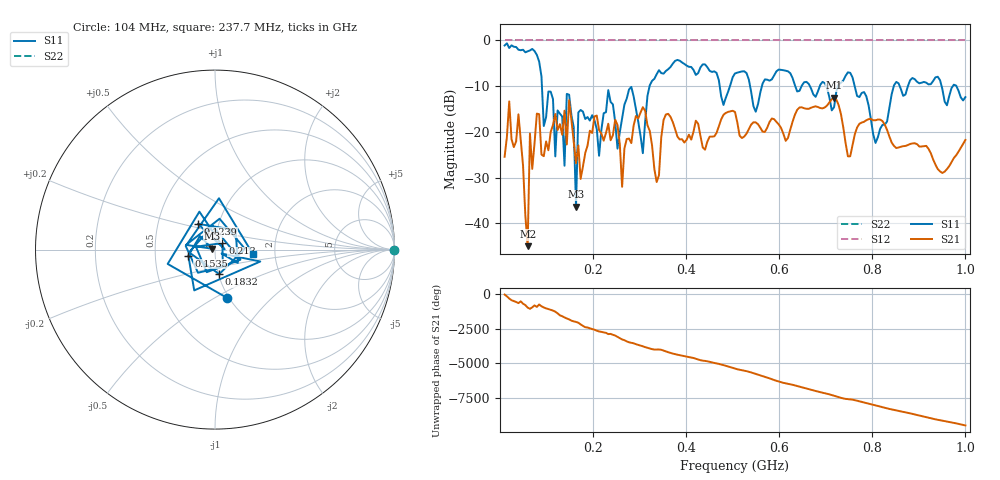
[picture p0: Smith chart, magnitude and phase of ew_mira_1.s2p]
! Anritsu VNA Master:  Model: MS2024B
! SN:  2417009
! /card0/usr/ew_mira_1.s2p
! Existing Calibration Information:
! TYPE:  Current Settings,  Active Cal Settings
! TIME:  10/26/2026 12:23:12 PM,  10/26/2026 11:43:50 AM
! INTERNAL TEMP:  51.3 C,  42.8 C
! # POINTS:  201,  201
! START FREQ:  10.000 MHz,  10.000 MHz
! STOP FREQ:  1.000 GHz,  1.000 GHz
! SOURCE POWER:  Default,  Default
! IFBW:  1 kHz,  1 kHz
! AVG FACTOR:  1 ,  1
! REF PLANE 1:  0 mm,  0 mm
! REF PLANE 2:  0 mm,  0 mm
! CAL TYPE:  1P2P S11,S21,  1P2P S11,S21
! CAL METHOD:  SOLT,  SOLT
! CAL LINE TYPE:  Coax,  Coax
! DUT PORT 1:  N-Conn(M),  N-Conn(M)
! DUT PORT 2:  N-Conn(M),  N-Conn(M)
! CAL STATUS:  ?T: Accuracy moderate (|Temp diff| > 5.0 C),  --
# GHZ S DB R 50.0
! FREQ.GHZ  S11DB  S11A  S21DB  S21A  S12DB  S12A  S22DB  S22A
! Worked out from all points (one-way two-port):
!   201 points, 10 MHz to 1 GHz, reference 50 ohm
!   highest |S21| = -12.54 dB at 717.9 MHz (marker M1); lowest = -45.0 dB at 59.5 MHz (marker M2)
!   lowest |S11| = -36.3 dB at 163.4 MHz (marker M3), VSWR 1.03, Z = 48.6 + j0.431 ohm
!   |S11| at or under -10 dB: 90.18 MHz to 321.4 MHz (231.3 MHz wide, 112 % of centre); 537.4 MHz to 562.8 MHz (25.44 MHz wide, 4.62 % of centre); 762.2 MHz to 846.1 MHz (83.84 MHz wide, 10.4 % of centre) (the widest 3 of 10)
!   |S22| runs from 0.0 to 0.0 dB; largest |S21 - S12| = 1.2
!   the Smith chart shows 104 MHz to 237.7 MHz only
!   S11 on the Smith chart (normalised r, x): 104 MHz: 0.98, -0.57; 123.8 MHz: 0.80, +0.24; 153.6 MHz: 0.74, -0.05; 183.2 MHz: 1.01, -0.28; 212.9 MHz: 1.08, +0.08; 237.7 MHz: 1.53, -0.08
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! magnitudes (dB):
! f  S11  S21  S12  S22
! 10 MHz  -1.1  -25.4  0.0  0.0
! 39.7 MHz  -2.0  -16.2  0.0  0.0
! 59.5 MHz  -2.4  -45.0  0.0  0.0
! 64.45 MHz  -2.2  -20.3  0.0  0.0
! 104 MHz  -11.2  -24.0  0.0  0.0
! 123.8 MHz  -15.3  -19.6  0.0  0.0
! 153.6 MHz  -16.3  -17.4  0.0  0.0
! 163.4 MHz  -36.3  -26.8  0.0  0.0
! 168.4 MHz  -15.7  -22.9  0.0  0.0
! 178.3 MHz  -15.6  -27.6  0.0  0.0
! 183.2 MHz  -17.2  -24.6  0.0  0.0
! 212.9 MHz  -25.2  -19.6  0.0  0.0
! 237.7 MHz  -13.4  -21.8  0.0  0.0
! 262.5 MHz  -17.1  -32.0  0.0  0.0
! 307 MHz  -24.6  -14.6  0.0  0.0
! 341.6 MHz  -6.5  -29.5  0.0  0.0
! 356.5 MHz  -6.7  -16.2  0.0  0.0
! 505 MHz  -7.2  -15.6  0.0  0.0
! 673.3 MHz  -11.8  -14.5  0.0  0.0
! 717.9 MHz  -14.6  -12.5  0.0  0.0
! 836.6 MHz  -14.8  -21.0  0.0  0.0
! 1 GHz  -12.4  -21.8  0.0  0.0
